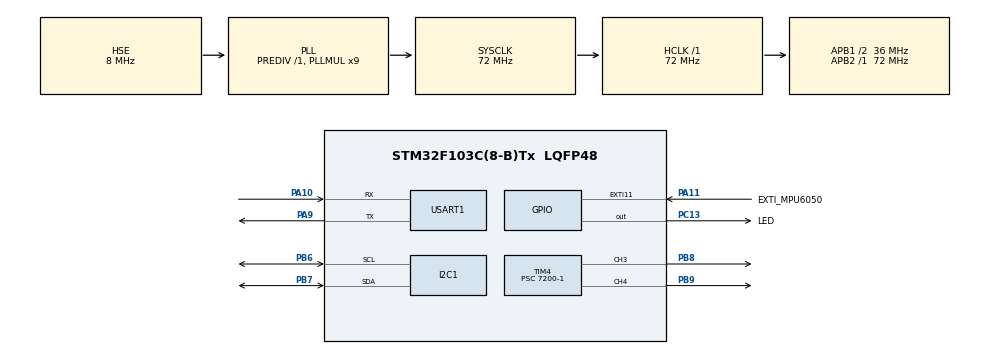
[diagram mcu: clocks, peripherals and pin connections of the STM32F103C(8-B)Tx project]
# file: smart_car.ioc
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Mcu.Family=STM32F1
RCC.PLLSourceVirtual=RCC_PLLSOURCE_HSE
NVIC.DMA1_Channel5_IRQn=true\:0\:0\:false\:false\:true\:false\:true
PD1-OSC_OUT.Mode=HSE-External-Oscillator
Dma.USART1_RX.0.PeriphDataAlignment=DMA_PDATAALIGN_BYTE
PA10.Mode=Asynchronous
SH.S_TIM4_CH4.0=TIM4_CH4,PWM Generation4 CH4
PC13-TAMPER-RTC.Signal=GPIO_Output
PA11.GPIO_Label=EXTI_MPU6050
PD0-OSC_IN.Signal=RCC_OSC_IN
PA11.GPIO_PuPd=GPIO_PULLUP
RCC.APB1CLKDivider=RCC_HCLK_DIV2
RCC.SYSCLKSource=RCC_SYSCLKSOURCE_PLLCLK
ProjectManager.StackSize=0x400
PD1-OSC_OUT.Signal=RCC_OSC_OUT
RCC.ADCPresc=RCC_ADCPCLK2_DIV6
PA13.Signal=SYS_JTMS-SWDIO
PA9.Mode=Asynchronous
ProjectManager.TargetToolchain=Makefile
SH.S_TIM4_CH3.0=TIM4_CH3,PWM Generation3 CH3
Dma.USART1_RX.0.Direction=DMA_PERIPH_TO_MEMORY
RCC.HCLKFreq_Value=72000000
RCC.APB2TimFreq_Value=72000000
PA9.Signal=USART1_TX
PB6.Signal=I2C1_SCL
PB6.Mode=I2C
RCC.USBFreq_Value=72000000
TIM4.Prescaler=7200-1
RCC.AHBFreq_Value=72000000
Dma.USART1_RX.0.PeriphInc=DMA_PINC_DISABLE
Dma.USART1_RX.0.Priority=DMA_PRIORITY_LOW
PD0-OSC_IN.Mode=HSE-External-Oscillator
NVIC.EXTI15_10_IRQn=true\:0\:0\:false\:false\:true\:true\:true
TIM4.Channel-PWM\ Generation3\ CH3=TIM_CHANNEL_3
board=custom
PC13-TAMPER-RTC.GPIO_Label=LED
RCC.PLLMUL=RCC_PLL_MUL9
RCC.APB2Freq_Value=72000000
PC13-TAMPER-RTC.PinState=GPIO_PIN_SET
PA14.Mode=Serial_Wire
Dma.USART1_RX.0.MemDataAlignment=DMA_MDATAALIGN_BYTE
PB7.Signal=I2C1_SDA
TIM4.Period=200-1
Dma.USART1_RX.0.MemInc=DMA_MINC_ENABLE
PA13.Mode=Serial_Wire
Mcu.Name=STM32F103C(8-B)Tx
RCC.SYSCLKFreq_VALUE=72000000
Mcu.Package=LQFP48
PC13-TAMPER-RTC.GPIO_ModeDefaultOutputPP=GPIO_MODE_OUTPUT_PP
PB9.Signal=S_TIM4_CH4
USART1.VirtualMode=VM_ASYNC
PB7.Mode=I2C
PA11.Signal=GPXTI11
PA10.Signal=USART1_RX
PA14.Signal=SYS_JTCK-SWCLK
ProjectManager.HeapSize=0x200
NVIC.PriorityGroup=NVIC_PRIORITYGROUP_4
RCC.APB1TimFreq_Value=72000000
PB8.Signal=S_TIM4_CH3
Dma.USART1_RX.0.Mode=DMA_CIRCULAR
NVIC.USART1_IRQn=true\:0\:0\:false\:false\:true\:true\:true
TIM4.Channel-PWM\ Generation4\ CH4=TIM_CHANNEL_4
PA11.GPIO_ModeDefaultEXTI=GPIO_MODE_IT_RISING
Dma.Request0=USART1_RX
RCC.APB1Freq_Value=36000000
Dma.USART1_RX.0.Instance=DMA1_Channel5

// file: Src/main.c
/* USER CODE BEGIN Header */
/**
  ******************************************************************************
  * @file           : main.c
  * @brief          : Main program body
  ******************************************************************************
  * @attention
  *
  * <h2><center>&copy; Copyright (c) 2020 STMicroelectronics.
  * All rights reserved.</center></h2>
  *
  * This software component is licensed by ST under BSD 3-Clause license,
  * the "License"; You may not use this file except in compliance with the
  * License. You may obtain a copy of the License at:
  *                        opensource.org/licenses/BSD-3-Clause
  *
  ******************************************************************************
  */
/* USER CODE END Header */

#include "main.h"
#include "dma.h"
#include "i2c.h"
#include "tim.h"
#include "usart.h"
#include "gpio.h"

/* USER CODE BEGIN Includes */
// #include "mpu6050_hw.h"
#include "mpu6050_dmp.h"
#include "sys_tick.h"
/* USER CODE END Includes */

void SystemClock_Config(void);

/* USER CODE BEGIN 0 */
int16_t dutyCycle = 0;  //0-ARR
uint8_t speed_dutyCycle_ab = 15;  //absolut dutyCycle
uint8_t steering_dutyCycle_ab = 15;  //absolut dutyCycle
uint8_t recv_buf[9] = {0};
uint16_t recv_size = 9;
short accData[3]={0};  // accelerator data from mpu6050
/* USER CODE END 0 */

int main(void)
{
  /* USER CODE BEGIN 1 */
  uint16_t LED_counter = 0;
  /* USER CODE END 1 */

  /* MCU Configuration--------------------------------------------------------*/

  /* Reset of all peripherals, Initializes the Flash interface and the Systick. */
  HAL_Init();

  /* USER CODE BEGIN Init */
  RetargetInit(&huart1);
  /* USER CODE END Init */

  /* Configure the system clock */
  SystemClock_Config();

  /* USER CODE BEGIN SysInit */
  SysTick_Init();
  SysTick->CTRL|=SysTick_CTRL_ENABLE_Msk;
  /* USER CODE END SysInit */

  /* Initialize all configured peripherals */
  MX_GPIO_Init();
  MX_DMA_Init();
  MX_TIM4_Init();
  MX_I2C1_Init();
  MX_USART1_UART_Init();
  /* USER CODE BEGIN 2 */
  HAL_TIM_PWM_Start(&htim4,TIM_CHANNEL_3);     //Motor PWM
  HAL_TIM_PWM_Start(&htim4,TIM_CHANNEL_4);     //Steering motor PWM
  HAL_UART_Receive_DMA(&huart1, recv_buf, recv_size); //UART1
  /* USER CODE END 2 */

  /* Infinite loop */
  /* USER CODE BEGIN WHILE */
  //Initial motor controller HobbyWing 1060
  HAL_GPIO_WritePin(LED_GPIO_Port, LED_Pin, GPIO_PIN_RESET);
  HAL_Delay(5000);
  __HAL_TIM_SET_COMPARE(&htim4, TIM_CHANNEL_3, 15);
  HAL_Delay(2000);

  //Initial steering servo motor
  __HAL_TIM_SET_COMPARE(&htim4, TIM_CHANNEL_4, 15);
  HAL_Delay(2000);

  HAL_GPIO_WritePin(LED_GPIO_Port, LED_Pin, GPIO_PIN_RESET);
  HAL_Delay(500);
  HAL_GPIO_WritePin(LED_GPIO_Port, LED_Pin, GPIO_PIN_SET);
  HAL_Delay(500);
  HAL_GPIO_WritePin(LED_GPIO_Port, LED_Pin, GPIO_PIN_RESET);
  HAL_Delay(500);
  HAL_GPIO_WritePin(LED_GPIO_Port, LED_Pin, GPIO_PIN_SET);

  //Initial MPU6050
  #ifdef DEBUG
    // printf("[main] Debuge mode, printf can be used!!!(printf)\n");
    // printf("[main] Initializing mpu6050...\n");
  #endif
  // MPU6050_Init();
  mpu6050_init();
  while (1)
  {
    /* USER CODE END WHILE */

    /* USER CODE BEGIN 3 */
    LED_counter ++;
    __HAL_TIM_SET_COMPARE(&htim4, TIM_CHANNEL_3, speed_dutyCycle_ab);
    __HAL_TIM_SET_COMPARE(&htim4, TIM_CHANNEL_4, steering_dutyCycle_ab);

    if (LED_counter == 50){
      HAL_GPIO_WritePin(LED_GPIO_Port, LED_Pin, GPIO_PIN_RESET);
    }
    else if (LED_counter == 100){
      HAL_GPIO_WritePin(LED_GPIO_Port, LED_Pin, GPIO_PIN_SET);
      LED_counter = 0;
    }

    #ifdef DEBUG
      mpu6050_run();
    #endif

    // HAL_Delay(10);
  }
  /* USER CODE END 3 */
}

void SystemClock_Config(void)
{
  RCC_OscInitTypeDef RCC_OscInitStruct = {0};
  RCC_ClkInitTypeDef RCC_ClkInitStruct = {0};

  /** Initializes the CPU, AHB and APB busses clocks
  */
  RCC_OscInitStruct.OscillatorType = RCC_OSCILLATORTYPE_HSE;
  RCC_OscInitStruct.HSEState = RCC_HSE_ON;
  RCC_OscInitStruct.HSEPredivValue = RCC_HSE_PREDIV_DIV1;
  RCC_OscInitStruct.HSIState = RCC_HSI_ON;
  RCC_OscInitStruct.PLL.PLLState = RCC_PLL_ON;
  RCC_OscInitStruct.PLL.PLLSource = RCC_PLLSOURCE_HSE;
  RCC_OscInitStruct.PLL.PLLMUL = RCC_PLL_MUL9;
  if (HAL_RCC_OscConfig(&RCC_OscInitStruct) != HAL_OK)
  {
    Error_Handler();
  }
  /** Initializes the CPU, AHB and APB busses clocks
  */
  RCC_ClkInitStruct.ClockType = RCC_CLOCKTYPE_HCLK|RCC_CLOCKTYPE_SYSCLK
                              |RCC_CLOCKTYPE_PCLK1|RCC_CLOCKTYPE_PCLK2;
  RCC_ClkInitStruct.SYSCLKSource = RCC_SYSCLKSOURCE_PLLCLK;
  RCC_ClkInitStruct.AHBCLKDivider = RCC_SYSCLK_DIV1;
  RCC_ClkInitStruct.APB1CLKDivider = RCC_HCLK_DIV2;
  RCC_ClkInitStruct.APB2CLKDivider = RCC_HCLK_DIV1;

  if (HAL_RCC_ClockConfig(&RCC_ClkInitStruct, FLASH_LATENCY_2) != HAL_OK)
  {
    Error_Handler();
  }
}

/* USER CODE BEGIN 4 */
void HAL_UART_RxCpltCallback(UART_HandleTypeDef *huart)
{
  #ifdef DEBUG
    Usart_SendString((uint8_t *)recv_buf);
    printf("[main] UART data is (printf): ");
    for (int i = 0; i<9; i++)
      printf("%d, ", *(recv_buf + i));
    printf('(printf)\n');
  #endif
  uint8_t brake_ac = 0 ; //0-100
  uint8_t gas_ac = 0 ; //0-100
  uint8_t dutyCycle_ac = 0;

  uint8_t steering = 49; //0-100
  // int32_t stering_deg = 0;
  //steering
  steering = 10 * (recv_buf[0] - '0') + (recv_buf[1] - '0');
  steering_dutyCycle_ab = 5 + steering * 2 / 10;

  //brake
  brake_ac = 10 * (recv_buf[2] - '0') + (recv_buf[3] - '0') + 1;
  if (brake_ac > 5){
    // HobbyWing 1060 ###########################
    if (dutyCycle > 15){
      dutyCycle = 15; // 1.5ms
    }
    else {
      dutyCycle = 15 - brake_ac / 20; //100->10, 0->15
    }
    // HobbyWing 1060 ###########################

    // TB6650 ###################################
    // HAL_GPIO_WritePin(Motor1a_GPIO_Port, Motor1a_Pin, GPIO_PIN_RESET);
    // HAL_GPIO_WritePin(Motor1b_GPIO_Port, Motor1b_Pin, GPIO_PIN_SET);
    // brake_ac = brake_ac * htim4.Init.Period / 100;
    // dutyCycle = brake_ac;
    // TB6650 ###################################

    // accelerat control ########################
    // brake_ac = htim4.Init.Period / 100 * brake_ac / 5;
    // dutyCycle -= brake_ac;
    // accelerat control ########################
  }

  //gas pedal
  else{
    // HobbyWing 1060 ###########################
    gas_ac = 10 * (recv_buf[4] - '0') + (recv_buf[5] - '0') + 1;
    dutyCycle = gas_ac / 20 + 15; //100->20, 0->15
    // HobbyWing 1060 ###########################

    // TB6650 ###################################
    // HAL_GPIO_WritePin(Motor1a_GPIO_Port, Motor1a_Pin, GPIO_PIN_SET);
    // HAL_GPIO_WritePin(Motor1b_GPIO_Port, Motor1b_Pin, GPIO_PIN_RESET);
    // dutyCycle_ab = 10 * (recv_buf[4] - '0') + (recv_buf[5] - '0');
    // dutyCycle_ab = dutyCycle_ab * htim4.Init.Period / 100;
    // TB6650 ###################################

    // accelerat control ########################
    // dutyCycle_ac = 10 * (recv_buf[4] - '0') + (recv_buf[5] - '0');
    // dutyCycle_ac = htim4.Init.Period / 100 * dutyCycle_ac / 5;
    // dutyCycle += dutyCycle_ac;
    // accelerat control ########################
  }

  //hand brake
  if (recv_buf[6] == '1'){
    // HobbyWing 1060 ###########################
    dutyCycle = 15;
    // HobbyWing 1060 ###########################

    // TB6650 ###################################
    // HAL_GPIO_WritePin(Motor1a_GPIO_Port, Motor1a_Pin, GPIO_PIN_RESET);
    // HAL_GPIO_WritePin(Motor1b_GPIO_Port, Motor1b_Pin, GPIO_PIN_RESET);
    // dutyCycle = 0;
    // TB6650 ###################################
  }

  // HobbyWing 1060 ###########################
  speed_dutyCycle_ab = dutyCycle;
  // HobbyWing 1060 ###########################

  // accelerat control ########################
  // if (dutyCycle >= 0 ){
  //   HAL_GPIO_WritePin(Motor1a_GPIO_Port, Motor1a_Pin, GPIO_PIN_SET);
  //   HAL_GPIO_WritePin(Motor1b_GPIO_Port, Motor1b_Pin, GPIO_PIN_RESET);
  //   if (dutyCycle > htim4.Init.Period){ dutyCycle = htim4.Init.Period;}
  //   speed_dutyCycle_ab = dutyCycle;
  // }
  // else{
  //   HAL_GPIO_WritePin(Motor1a_GPIO_Port, Motor1a_Pin, GPIO_PIN_RESET);
  //   HAL_GPIO_WritePin(Motor1b_GPIO_Port, Motor1b_Pin, GPIO_PIN_SET);
  //   if (dutyCycle < (-htim4.Init.Period)){ dutyCycle = -htim4.Init.Period;}
  //   speed_dutyCycle_ab = -dutyCycle;
  // }
  // accelerat control ########################

}
/* USER CODE END 4 */

void Error_Handler(void)
{
}

/************************ (C) COPYRIGHT STMicroelectronics *****END OF FILE****/
